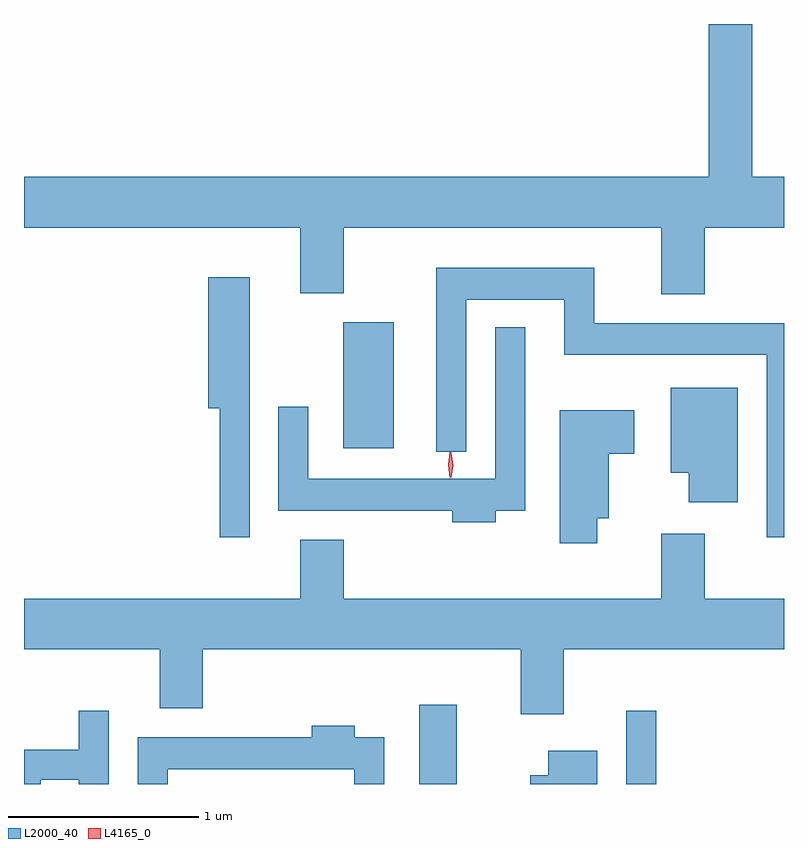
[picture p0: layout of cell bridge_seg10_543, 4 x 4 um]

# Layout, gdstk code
import gdstk
lib = gdstk.Library(unit=1e-6, precision=1e-09)
def R(c, l, rs):  # rectangles x0, y0, x1, y1
    for r in rs: c.add(gdstk.rectangle(r[:2], r[2:], *l))
def P(c, l, *ps):  # polygons
    for p in ps: c.add(gdstk.Polygon(p, *l))
L2000_40 = (2000, 40)
L4165_0 = (4165, 0)

bridge_seg10_543 = lib.new_cell('bridge_seg10_543')
R(bridge_seg10_543, L2000_40, [(770.296,2168.708,770.494,2169.124), (771.386,2168.708,771.544,2169.093), (769.896,2170.476,770.164,2171.139)])
P(bridge_seg10_543, L2000_40, [(771.799,2171.636),(772.217,2171.636),(772.217,2171.904),(772.049,2171.904),(772.049,2172.708),(771.821,2172.708),(771.821,2171.904),(768.217,2171.904),(768.217,2171.636),(769.671,2171.636),(769.671,2171.291),(769.899,2171.291),(769.899,2171.636),(771.571,2171.636),(771.571,2171.286),(771.799,2171.286)],
  [(772.217,2171.134),(771.219,2171.134),(771.219,2171.424),(770.386,2171.424),(770.386,2170.458),(770.544,2170.458),(770.544,2171.256),(771.061,2171.256),(771.061,2170.966),(772.126,2170.966),(772.126,2170.008),(772.217,2170.008)],
  [(769.404,2171.374),(769.186,2171.374),(769.186,2170.686),(769.246,2170.686),(769.246,2170.008),(769.404,2170.008)],
  [(770.699,2170.146),(770.854,2170.146),(770.854,2171.113),(770.696,2171.113),(770.696,2170.314),(769.714,2170.314),(769.714,2170.693),(769.556,2170.693),(769.556,2170.146),(770.471,2170.146),(770.471,2170.086),(770.699,2170.086)],
  [(771.974,2170.794),(771.621,2170.794),(771.621,2170.346),(771.716,2170.346),(771.716,2170.191),(771.974,2170.191)],
  [(771.234,2170.106),(771.294,2170.106),(771.294,2170.446),(771.429,2170.446),(771.429,2170.674),(771.036,2170.674),(771.036,2169.976),(771.234,2169.976)],
  [(772.217,2169.684),(771.799,2169.684),(771.799,2170.024),(771.571,2170.024),(771.571,2169.684),(769.899,2169.684),(769.899,2169.994),(769.671,2169.994),(769.671,2169.684),(768.217,2169.684),(768.217,2169.416),(768.931,2169.416),(768.931,2169.106),(769.159,2169.106),(769.159,2169.416),(770.831,2169.416),(770.831,2169.076),(771.059,2169.076),(771.059,2169.416),(772.217,2169.416)],
  [(768.304,2168.731),(768.506,2168.731),(768.506,2168.708),(768.664,2168.708),(768.664,2169.093),(768.506,2169.093),(768.506,2168.889),(768.217,2168.889),(768.217,2168.708),(768.304,2168.708)],
  [(768.974,2168.786),(769.956,2168.786),(769.956,2168.708),(770.114,2168.708),(770.114,2168.954),(769.959,2168.954),(769.959,2169.014),(769.731,2169.014),(769.731,2168.954),(768.816,2168.954),(768.816,2168.708),(768.974,2168.708)],
  [(771.234,2168.884),(770.976,2168.884),(770.976,2168.754),(770.881,2168.754),(770.881,2168.708),(771.234,2168.708)])
P(bridge_seg10_543, L4165_0, [(770.458,2170.317),(770.458,2170.318),(770.449,2170.387),(770.458,2170.456),(770.459,2170.456),(770.46,2170.456),(770.468,2170.387),(770.459,2170.318)],
  [(770.465,2170.319),(770.464,2170.32),(770.455,2170.386),(770.464,2170.452),(770.465,2170.453),(770.465,2170.452),(770.475,2170.386),(770.465,2170.32)])

lib.write_gds('bridge_seg10_543.gds')
